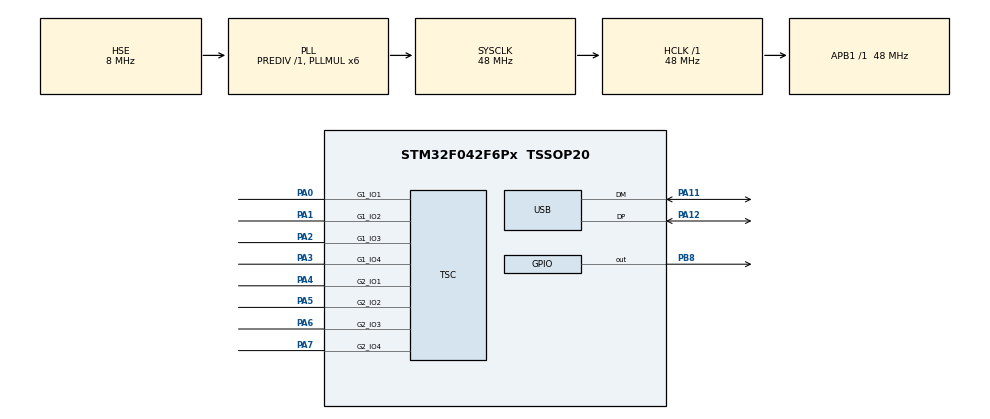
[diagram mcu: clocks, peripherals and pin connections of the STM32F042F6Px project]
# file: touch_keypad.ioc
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Mcu.Family=STM32F0
Mcu.Name=STM32F042F6Px
Mcu.Package=TSSOP20
NVIC.USB_IRQn=true\:0\:0\:false\:false\:true\:false\:true
PA0.Mode=G1_IO1-Channel
PA0.Signal=TSC_G1_IO1
PA1.Mode=G1_IO2-Channel
PA1.Signal=TSC_G1_IO2
PA11.Mode=Device
PA11.Signal=USB_DM
PA12.Mode=Device
PA12.Signal=USB_DP
PA13.Mode=Serial_Wire
PA13.Signal=SYS_SWDIO
PA14.Mode=Serial_Wire
PA14.Signal=SYS_SWCLK
PA2.Mode=G1_IO3-Channel
PA2.Signal=TSC_G1_IO3
PA3.Mode=G1_IO4-Sampling
PA3.Signal=TSC_G1_IO4
PA4.Mode=G2_IO1-Sampling
PA4.Signal=TSC_G2_IO1
PA5.Mode=G2_IO2-Channel
PA5.Signal=TSC_G2_IO2
PA6.Mode=G2_IO3-Channel
PA6.Signal=TSC_G2_IO3
PA7.Mode=G2_IO4-Channel
PA7.Signal=TSC_G2_IO4
PB8.Signal=GPIO_Output
PF0-OSC_IN.Mode=HSE-External-Oscillator
PF0-OSC_IN.Signal=RCC_OSC_IN
PF1-OSC_OUT.Mode=HSE-External-Oscillator
PF1-OSC_OUT.Signal=RCC_OSC_OUT
ProjectManager.HeapSize=0x200
ProjectManager.StackSize=0x400
ProjectManager.TargetToolchain=STM32CubeIDE
RCC.AHBFreq_Value=48000000
RCC.APB1Freq_Value=48000000
RCC.APB1TimFreq_Value=48000000
RCC.HCLKFreq_Value=48000000
RCC.PLLMUL=RCC_PLL_MUL6
RCC.PLLSourceVirtual=RCC_PLLSOURCE_HSE
RCC.SYSCLKFreq_VALUE=48000000
RCC.SYSCLKSource=RCC_SYSCLKSOURCE_PLLCLK
TSC.ChannelIOs-G1_IO1-Channel=TSC_GROUP1_IO1
TSC.ChannelIOs-G1_IO2-Channel=TSC_GROUP1_IO2
TSC.ChannelIOs-G1_IO3-Channel=TSC_GROUP1_IO3
TSC.ChannelIOs-G2_IO2-Channel=TSC_GROUP2_IO2
TSC.ChannelIOs-G2_IO3-Channel=TSC_GROUP2_IO3
TSC.ChannelIOs-G2_IO4-Channel=TSC_GROUP2_IO4
TSC.SamplingIOs-G1_IO4-Sampling=TSC_GROUP1_IO4
TSC.SamplingIOs-G2_IO1-Sampling=TSC_GROUP2_IO1
USB_DEVICE.CLASS_NAME_FS=HID
USB_DEVICE.VirtualMode=Hid
USB_DEVICE.VirtualModeFS=Hid_FS
VP_SYS_VS_PINREMAP.Mode=PINREMAP
VP_USB_DEVICE_VS_USB_DEVICE_HID_FS.Mode=HID_FS
board=custom

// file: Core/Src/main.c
/* USER CODE BEGIN Header */
/**
  ******************************************************************************
  * @file           : main.c
  * @brief          : Main program body
  ******************************************************************************
  * @attention
  *
  * <h2><center>&copy; Copyright (c) 2020 STMicroelectronics.
  * All rights reserved.</center></h2>
  *
  * This software component is licensed by ST under BSD 3-Clause license,
  * the "License"; You may not use this file except in compliance with the
  * License. You may obtain a copy of the License at:
  *                        opensource.org/licenses/BSD-3-Clause
  *
  ******************************************************************************
  */
/* USER CODE END Header */
#include "main.h"
#include "usb_device.h"

TSC_HandleTypeDef htsc;

void SystemClock_Config(void);
static void MX_GPIO_Init(void);
static void MX_TSC_Init(void);

/* USER CODE BEGIN 0 */
uint32_t row_key[3] = {TSC_GROUP1_IO1,TSC_GROUP1_IO2,TSC_GROUP1_IO3};
uint32_t column_key[3] = {TSC_GROUP2_IO2,TSC_GROUP2_IO3,TSC_GROUP2_IO4};
uint32_t threshold_x = 700;
uint32_t threshold_y = 700;
/* USER CODE END 0 */

int main(void)
{

  /* MCU Configuration--------------------------------------------------------*/

  /* Reset of all peripherals, Initializes the Flash interface and the Systick. */
  HAL_Init();

  /* Configure the system clock */
  SystemClock_Config();

  /* Initialize all configured peripherals */
  MX_GPIO_Init();
  MX_TSC_Init();
  MX_USB_DEVICE_Init();
  /* USER CODE BEGIN 2 */
  uint32_t data_x[3];
  uint32_t data_y[3];

  uint32_t data_calib_x = 0;
  uint32_t data_calib_y = 0;

  for(int i = 0; i<100; i++){
  	  htsc.Instance -> CR |= TSC_IODEF_OUT_PP_LOW;
  	  HAL_Delay(1);
  	  htsc.Instance -> IOCCR |= TSC_GROUP1;
  	  htsc.Instance -> CR |= TSC_CR_START;
  	  while((htsc.Instance->ISR & TSC_ISR_EOAF)!= 1){

  	  }
  	    data_calib_x += htsc.Instance->IOGXCR[0];
        htsc.Instance-> ICR = TSC_ICR_EOAIC;
     }
  htsc.Instance -> IOCCR = 0;
  threshold_x = (uint32_t) data_calib_x/100 - 50;

  for(int i = 0; i<50; i++){
  	  htsc.Instance -> CR |= TSC_IODEF_OUT_PP_LOW;
  	  HAL_Delay(1);
  	  htsc.Instance -> IOCCR |= TSC_GROUP2;
  	  htsc.Instance -> CR |= TSC_CR_START;
  	  while((htsc.Instance->ISR & TSC_ISR_EOAF)!= 1){

  	  }
  	    data_calib_y += htsc.Instance->IOGXCR[1];
        htsc.Instance-> ICR = TSC_ICR_EOAIC;
     }
  threshold_y = (uint32_t) data_calib_y/50 - 50;
  HAL_GPIO_WritePin(GPIOB, GPIO_PIN_8,GPIO_PIN_SET);
  htsc.Instance -> IOCCR = 0;
  /* USER CODE END 2 */

  /* Infinite loop */
  while (1)
  {

    /* USER CODE BEGIN 3 */
    for(int i = 0; i<3; i++){
	  htsc.Instance -> CR |= TSC_IODEF_OUT_PP_LOW;
	  HAL_Delay(1);
	  htsc.Instance -> IOCCR |= row_key[i];
	  htsc.Instance -> CR |= TSC_CR_START;
	  while((htsc.Instance->ISR & TSC_ISR_EOAF)!= 1){

	  }
      data_x[i] = htsc.Instance->IOGXCR[0];
      htsc.Instance -> IOCCR = 0;
      htsc.Instance-> ICR = TSC_ICR_EOAIC;
       }
    for(int j = 0; j<3; j++){
      	  htsc.Instance -> CR |= TSC_IODEF_OUT_PP_LOW;
      	 	  HAL_Delay(1);
      	 	  htsc.Instance -> IOCCR |= column_key[j];
      	 	  htsc.Instance -> CR |= TSC_CR_START;
      	 	  while((htsc.Instance->ISR & TSC_ISR_EOAF)!= 1){

      	 	  }
      	       data_y[j] = htsc.Instance->IOGXCR[1];
      	       htsc.Instance-> ICR = TSC_ICR_EOAIC;
      	     htsc.Instance -> IOCCR = 0;
      	       }
        for (int j = 0; j <3; j++){
        	 if(data_y[j] < 800){
        	                       HAL_GPIO_TogglePin(GPIOB, GPIO_PIN_8);
        	                       HAL_Delay(100);
        	      	         }
        }
	 }

  /* USER CODE END 3 */
}

void SystemClock_Config(void)
{
  RCC_OscInitTypeDef RCC_OscInitStruct = {0};
  RCC_ClkInitTypeDef RCC_ClkInitStruct = {0};
  RCC_PeriphCLKInitTypeDef PeriphClkInit = {0};

  /** Initializes the RCC Oscillators according to the specified parameters
  * in the RCC_OscInitTypeDef structure.
  */
  RCC_OscInitStruct.OscillatorType = RCC_OSCILLATORTYPE_HSI48|RCC_OSCILLATORTYPE_HSE;
  RCC_OscInitStruct.HSEState = RCC_HSE_ON;
  RCC_OscInitStruct.HSI48State = RCC_HSI48_ON;
  RCC_OscInitStruct.PLL.PLLState = RCC_PLL_ON;
  RCC_OscInitStruct.PLL.PLLSource = RCC_PLLSOURCE_HSE;
  RCC_OscInitStruct.PLL.PLLMUL = RCC_PLL_MUL6;
  RCC_OscInitStruct.PLL.PREDIV = RCC_PREDIV_DIV1;
  if (HAL_RCC_OscConfig(&RCC_OscInitStruct) != HAL_OK)
  {
    Error_Handler();
  }
  /** Initializes the CPU, AHB and APB buses clocks
  */
  RCC_ClkInitStruct.ClockType = RCC_CLOCKTYPE_HCLK|RCC_CLOCKTYPE_SYSCLK
                              |RCC_CLOCKTYPE_PCLK1;
  RCC_ClkInitStruct.SYSCLKSource = RCC_SYSCLKSOURCE_PLLCLK;
  RCC_ClkInitStruct.AHBCLKDivider = RCC_SYSCLK_DIV1;
  RCC_ClkInitStruct.APB1CLKDivider = RCC_HCLK_DIV1;

  if (HAL_RCC_ClockConfig(&RCC_ClkInitStruct, FLASH_LATENCY_1) != HAL_OK)
  {
    Error_Handler();
  }
  PeriphClkInit.PeriphClockSelection = RCC_PERIPHCLK_USB;
  PeriphClkInit.UsbClockSelection = RCC_USBCLKSOURCE_HSI48;

  if (HAL_RCCEx_PeriphCLKConfig(&PeriphClkInit) != HAL_OK)
  {
    Error_Handler();
  }
}

static void MX_TSC_Init(void)
{

  /** Configure the TSC peripheral
  */
  htsc.Instance = TSC;
  htsc.Init.CTPulseHighLength = TSC_CTPH_2CYCLES;
  htsc.Init.CTPulseLowLength = TSC_CTPL_2CYCLES;
  htsc.Init.SpreadSpectrum = DISABLE;
  htsc.Init.SpreadSpectrumDeviation = 1;
  htsc.Init.SpreadSpectrumPrescaler = TSC_SS_PRESC_DIV1;
  htsc.Init.PulseGeneratorPrescaler = TSC_PG_PRESC_DIV4;
  htsc.Init.MaxCountValue = TSC_MCV_8191;
  htsc.Init.IODefaultMode = TSC_IODEF_OUT_PP_LOW;
  htsc.Init.SynchroPinPolarity = TSC_SYNC_POLARITY_FALLING;
  htsc.Init.AcquisitionMode = TSC_ACQ_MODE_NORMAL;
  htsc.Init.MaxCountInterrupt = DISABLE;
  htsc.Init.ChannelIOs = TSC_GROUP1_IO1|TSC_GROUP1_IO2|TSC_GROUP1_IO3|TSC_GROUP2_IO2
                    |TSC_GROUP2_IO3|TSC_GROUP2_IO4;
  htsc.Init.ShieldIOs = 0;
  htsc.Init.SamplingIOs = TSC_GROUP1_IO4|TSC_GROUP2_IO1;
  if (HAL_TSC_Init(&htsc) != HAL_OK)
  {
    Error_Handler();
  }

}

static void MX_GPIO_Init(void)
{
  GPIO_InitTypeDef GPIO_InitStruct = {0};

  /* GPIO Ports Clock Enable */
  __HAL_RCC_GPIOB_CLK_ENABLE();
  __HAL_RCC_GPIOF_CLK_ENABLE();
  __HAL_RCC_GPIOA_CLK_ENABLE();

  /*Configure GPIO pin Output Level */
  HAL_GPIO_WritePin(GPIOB, GPIO_PIN_8, GPIO_PIN_RESET);

  /*Configure GPIO pin : PB8 */
  GPIO_InitStruct.Pin = GPIO_PIN_8;
  GPIO_InitStruct.Mode = GPIO_MODE_OUTPUT_PP;
  GPIO_InitStruct.Pull = GPIO_NOPULL;
  GPIO_InitStruct.Speed = GPIO_SPEED_FREQ_LOW;
  HAL_GPIO_Init(GPIOB, &GPIO_InitStruct);

}

void Error_Handler(void)
{
}

/************************ (C) COPYRIGHT STMicroelectronics *****END OF FILE****/
